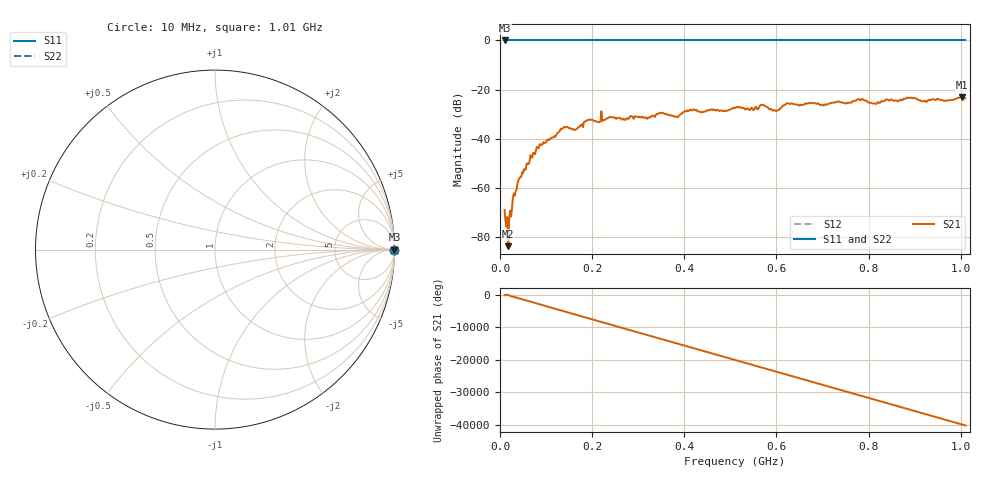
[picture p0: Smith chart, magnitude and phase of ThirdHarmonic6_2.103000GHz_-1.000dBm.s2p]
! 8/17/2025 1:09:40 AM
! C:\ANRITSUVNA\TEMP\TEMP.S2P
! CHANNEL.1
! TR.MEASUREMENT
! RAW.DATA
! RF.CORRECTION.OFF
! AVERAGING.OFF
! IF.BANDWIDTH: 5KHZ
! SWEEPTYPE:  FREQ.SWEEP(Linear)
! Reference Plane Port Info
! PORT:  PORT1  PORT2
! DISTANCE:  0  m  0  m
! TIME:  0  s  0  s
! PHASE.OFFSET:  0  deg.  0  deg.
! LOSS:  0  dB  0  dB
! REF.LOSS:  0  dB  0  dB
! REF.FREQ:  0  Hz  0  Hz
! Power Info
! POWER:  -20  dBm  -20  dBm
! EFF.POWER:  -20  dBm  -20  dBm
! SOURCE.ATTEN:  0  dB  0  dB
! TEST.ATTEN:  0  dB  0  dB
# GHZ S RI R 50.0
! FREQ.GHZ  S11RE  S11IM  S21RE  S21IM  S12RE  S12IM  S22RE  S22IM
!; PortSelection: Port_12
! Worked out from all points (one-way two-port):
!   501 points, 10 MHz to 1.01 GHz, reference 50 ohm
!   highest |S21| = -23.03 dB at 1.002 GHz (marker M1); lowest = -83.8 dB at 18 MHz (marker M2)
!   lowest |S11| = 0.0 dB at 10 MHz (marker M3)
!   |S11| at or under -10 dB: nowhere
!   |S22| runs from 0.0 to 0.0 dB; largest |S21 - S12| = 1.1
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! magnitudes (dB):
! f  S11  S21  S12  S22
! 10 MHz  0.0  -69.0  0.0  0.0
! 16 MHz  0.0  -71.9  0.0  0.0
! 18 MHz  0.0  -83.8  0.0  0.0
! 22 MHz  0.0  -69.3  0.0  0.0
! 32 MHz  0.0  -63.2  0.0  0.0
! 42 MHz  0.0  -56.1  0.0  0.0
! 84 MHz  0.0  -43.9  0.0  0.0
! 136 MHz  0.0  -35.9  0.0  0.0
! 178 MHz  0.0  -34.2  0.0  0.0
! 194 MHz  0.0  -32.3  0.0  0.0
! 322 MHz  0.0  -31.3  0.0  0.0
! 344 MHz  0.0  -29.8  0.0  0.0
! 382 MHz  0.0  -31.0  0.0  0.0
! 416 MHz  0.0  -28.5  0.0  0.0
! 510 MHz  0.0  -27.5  0.0  0.0
! 570 MHz  0.0  -26.1  0.0  0.0
! 596 MHz  0.0  -28.4  0.0  0.0
! 624 MHz  0.0  -25.5  0.0  0.0
! 678 MHz  0.0  -25.4  0.0  0.0
! 844 MHz  0.0  -24.5  0.0  0.0
! 1.002 GHz  0.0  -23.0  0.0  0.0
! 1.01 GHz  0.0  -23.6  0.0  0.0
